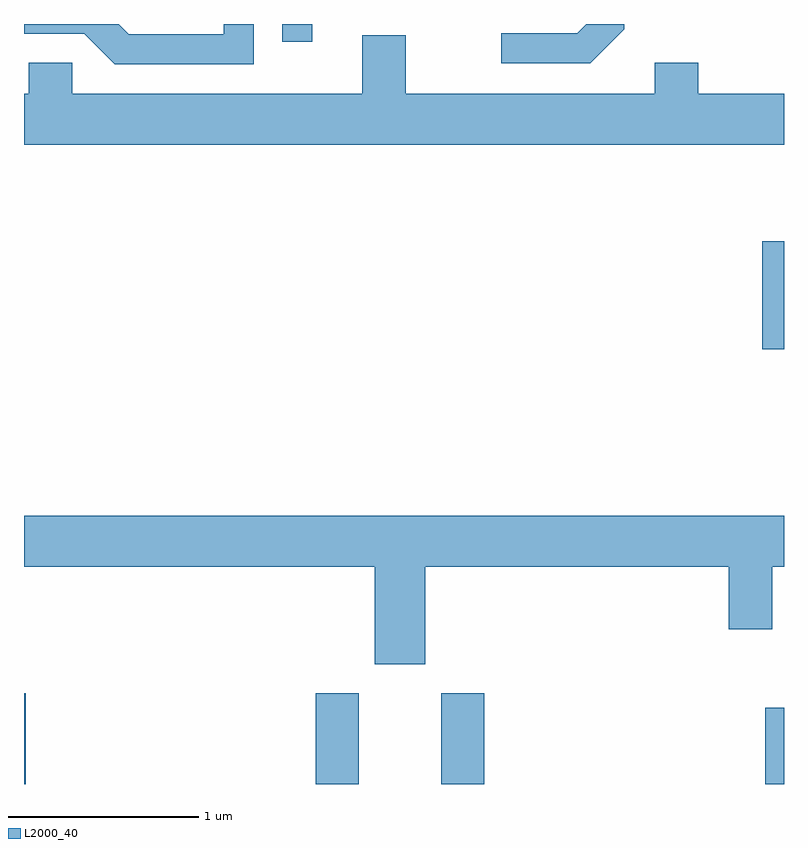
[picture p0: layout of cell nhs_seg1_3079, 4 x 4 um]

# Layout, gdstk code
import gdstk
lib = gdstk.Library(unit=1e-6, precision=1e-09)
def R(c, l, rs):  # rectangles x0, y0, x1, y1
    for r in rs: c.add(gdstk.rectangle(r[:2], r[2:], *l))
def P(c, l, *ps):  # polygons
    for p in ps: c.add(gdstk.Polygon(p, *l))
L2000_40 = (2000, 40)

nhs_seg1_3079 = lib.new_cell('nhs_seg1_3079')
R(nhs_seg1_3079, L2000_40, [(277.611,951.712,277.619,952.189), (279.146,951.712,279.374,952.189), (279.806,951.712,280.034,952.189), (281.511,951.712,281.611,952.113), (281.496,954.001,281.611,954.569), (278.971,955.618,279.129,955.712)])
P(nhs_seg1_3079, L2000_40, [(280.769,955.684),(280.769,955.712),(280.571,955.712),(280.524,955.664),(280.123,955.664),(280.123,955.506),(280.592,955.506)],
  [(278.819,955.712),(278.661,955.712),(278.661,955.659),(278.162,955.659),(278.109,955.712),(277.611,955.712),(277.611,955.661),(277.929,955.661),(278.089,955.501),(278.819,955.501)],
  [(281.611,955.344),(281.159,955.344),(281.159,955.509),(280.931,955.509),(280.931,955.344),(279.619,955.344),(279.619,955.654),(279.391,955.654),(279.391,955.344),(277.864,955.344),(277.864,955.509),(277.636,955.509),(277.636,955.344),(277.611,955.344),(277.611,955.076),(281.611,955.076)],
  [(279.724,952.856),(281.321,952.856),(281.321,952.526),(281.549,952.526),(281.549,952.856),(281.611,952.856),(281.611,953.124),(277.611,953.124),(277.611,952.856),(279.456,952.856),(279.456,952.341),(279.724,952.341)])

lib.write_gds('nhs_seg1_3079.gds')
